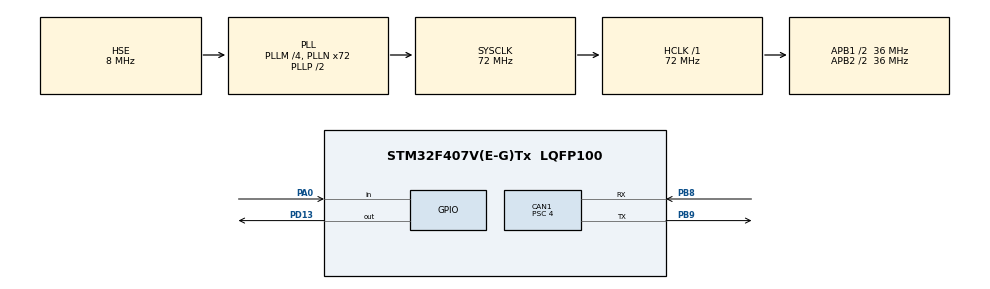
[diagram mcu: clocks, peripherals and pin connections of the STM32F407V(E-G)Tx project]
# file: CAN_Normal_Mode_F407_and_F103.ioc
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CAN1.BS1=CAN_BS1_12TQ
CAN1.BS2=CAN_BS2_3TQ
CAN1.CalculateBaudRate=562500
CAN1.CalculateTimeBit=1777
CAN1.CalculateTimeQuantum=111.11111111111111
CAN1.Mode=CAN_MODE_NORMAL
CAN1.Prescaler=4
Mcu.Family=STM32F4
Mcu.Name=STM32F407V(E-G)Tx
Mcu.Package=LQFP100
NVIC.PriorityGroup=NVIC_PRIORITYGROUP_0
PA0-WKUP.GPIO_PuPd=GPIO_PULLUP
PA0-WKUP.Signal=GPIO_Input
PA13.Mode=Serial_Wire
PA13.Signal=SYS_JTMS-SWDIO
PA14.Mode=Serial_Wire
PA14.Signal=SYS_JTCK-SWCLK
PB8.Mode=CAN_Activate
PB8.Signal=CAN1_RX
PB9.Mode=CAN_Activate
PB9.Signal=CAN1_TX
PD13.Signal=GPIO_Output
PH0-OSC_IN.Mode=HSE-External-Oscillator
PH0-OSC_IN.Signal=RCC_OSC_IN
PH1-OSC_OUT.Mode=HSE-External-Oscillator
PH1-OSC_OUT.Signal=RCC_OSC_OUT
ProjectManager.HeapSize=0x200
ProjectManager.StackSize=0x400
ProjectManager.TargetToolchain=STM32CubeIDE
RCC.48MHZClocksFreq_Value=20571428.57142857
RCC.AHBFreq_Value=72000000
RCC.APB1CLKDivider=RCC_HCLK_DIV2
RCC.APB1Freq_Value=36000000
RCC.APB1TimFreq_Value=72000000
RCC.APB2CLKDivider=RCC_HCLK_DIV2
RCC.APB2Freq_Value=36000000
RCC.APB2TimFreq_Value=72000000
RCC.CortexFreq_Value=72000000
RCC.HCLKFreq_Value=72000000
RCC.HSE_VALUE=8000000
RCC.HSI_VALUE=16000000
RCC.LSE_VALUE=32768
RCC.PLLM=4
RCC.PLLN=72
RCC.PLLQ=7
RCC.PLLSourceVirtual=RCC_PLLSOURCE_HSE
RCC.SYSCLKFreq_VALUE=72000000
RCC.SYSCLKSource=RCC_SYSCLKSOURCE_PLLCLK
RCC.VCOOutputFreq_Value=144000000
board=STM32F407G-DISC1

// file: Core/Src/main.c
/* USER CODE BEGIN Header */
/**
 ******************************************************************************
 * @file           : main.c
 * @brief          : Main program body
 ******************************************************************************
 * @attention
 *
 * Copyright (c) 2024 STMicroelectronics.
 * All rights reserved.
 *
 * This software is licensed under terms that can be found in the LICENSE file
 * in the root directory of this software component.
 * If no LICENSE file comes with this software, it is provided AS-IS.
 *
 ******************************************************************************
 */
/* USER CODE END Header */
#include "main.h"

CAN_HandleTypeDef hcan1;

/* USER CODE BEGIN PV */
CAN_TxHeaderTypeDef txHeader;
uint8_t txData[5] = {'H','E','L','L','O'};  // Data to send
uint32_t txMailbox;

CAN_RxHeaderTypeDef RxHeader;
uint8_t RxData[1];

/* USER CODE END PV */

void SystemClock_Config(void);
static void MX_GPIO_Init(void);
static void MX_CAN1_Init(void);

int main(void)
{

  /* MCU Configuration--------------------------------------------------------*/

  /* Reset of all peripherals, Initializes the Flash interface and the Systick. */
  HAL_Init();

  /* Configure the system clock */
  SystemClock_Config();

  /* Initialize all configured peripherals */
  MX_GPIO_Init();
  MX_CAN1_Init();
  /* USER CODE BEGIN 2 */

  CAN_FilterTypeDef canFilterConfig;
     canFilterConfig.FilterBank = 0;
     canFilterConfig.FilterMode = CAN_FILTERMODE_IDMASK;
     canFilterConfig.FilterScale = CAN_FILTERSCALE_32BIT;
     canFilterConfig.FilterIdHigh = 0x0000;
     canFilterConfig.FilterIdLow = 0x0000;
     canFilterConfig.FilterMaskIdHigh = 0x0000;
     canFilterConfig.FilterMaskIdLow = 0x0000;
     canFilterConfig.FilterFIFOAssignment = CAN_RX_FIFO0;
     canFilterConfig.FilterActivation = ENABLE;
     canFilterConfig.SlaveStartFilterBank = 14;

   	 txHeader.DLC = 5;  // Data length code: 1 byte
       txHeader.IDE = CAN_ID_STD;  // Standard identifier
       txHeader.StdId = 0x123;  // Identifier
       txHeader.RTR = CAN_RTR_DATA;  // Data frame
       txHeader.ExtId = 0x01;   // Extended Identifier (not used in this case)

     if (HAL_CAN_ConfigFilter(&hcan1, &canFilterConfig) != HAL_OK)
       {
         // Filter configuration Error
         Error_Handler();
       }

       // Start CAN
       if (HAL_CAN_Start(&hcan1) != HAL_OK)
       {
         // Start Error
         Error_Handler();
       }

       // Activate the notification for message reception
       if (HAL_CAN_ActivateNotification(&hcan1, CAN_IT_RX_FIFO0_MSG_PENDING) != HAL_OK)
       {
         // Notification Error
         Error_Handler();
       }

  /* USER CODE END 2 */

  /* Infinite loop */
	while (1) {

    /* USER CODE BEGIN 3 */
		if (HAL_CAN_GetTxMailboxesFreeLevel(&hcan1) > 0)
		{
			HAL_GPIO_WritePin(GPIOD, GPIO_PIN_13, 1);
		            if (HAL_CAN_AddTxMessage(&hcan1, &txHeader, txData, &txMailbox) != HAL_OK) {
		                Error_Handler();
		            }

		        }
		// Check if a CAN message is received
//		    if (HAL_CAN_GetRxFifoFillLevel(&hcan1, CAN_RX_FIFO0) > 0)
//		    {
//		      if (HAL_CAN_GetRxMessage(&hcan1, CAN_RX_FIFO0, &RxHeader, RxData) == HAL_OK)
//		      {
//		        // Process the received message (RxData)
//		        // You can add your code here to handle the received data
//		      }
//		      else
//		      {
//		        // Reception Error
//		        Error_Handler();
//		      }
//		    }

		    HAL_Delay(500);

	}
  /* USER CODE END 3 */
}

void SystemClock_Config(void)
{
  RCC_OscInitTypeDef RCC_OscInitStruct = {0};
  RCC_ClkInitTypeDef RCC_ClkInitStruct = {0};

  /** Configure the main internal regulator output voltage
  */
  __HAL_RCC_PWR_CLK_ENABLE();
  __HAL_PWR_VOLTAGESCALING_CONFIG(PWR_REGULATOR_VOLTAGE_SCALE1);

  /** Initializes the RCC Oscillators according to the specified parameters
  * in the RCC_OscInitTypeDef structure.
  */
  RCC_OscInitStruct.OscillatorType = RCC_OSCILLATORTYPE_HSE;
  RCC_OscInitStruct.HSEState = RCC_HSE_ON;
  RCC_OscInitStruct.PLL.PLLState = RCC_PLL_ON;
  RCC_OscInitStruct.PLL.PLLSource = RCC_PLLSOURCE_HSE;
  RCC_OscInitStruct.PLL.PLLM = 4;
  RCC_OscInitStruct.PLL.PLLN = 72;
  RCC_OscInitStruct.PLL.PLLP = RCC_PLLP_DIV2;
  RCC_OscInitStruct.PLL.PLLQ = 7;
  if (HAL_RCC_OscConfig(&RCC_OscInitStruct) != HAL_OK)
  {
    Error_Handler();
  }

  /** Initializes the CPU, AHB and APB buses clocks
  */
  RCC_ClkInitStruct.ClockType = RCC_CLOCKTYPE_HCLK|RCC_CLOCKTYPE_SYSCLK
                              |RCC_CLOCKTYPE_PCLK1|RCC_CLOCKTYPE_PCLK2;
  RCC_ClkInitStruct.SYSCLKSource = RCC_SYSCLKSOURCE_PLLCLK;
  RCC_ClkInitStruct.AHBCLKDivider = RCC_SYSCLK_DIV1;
  RCC_ClkInitStruct.APB1CLKDivider = RCC_HCLK_DIV2;
  RCC_ClkInitStruct.APB2CLKDivider = RCC_HCLK_DIV2;

  if (HAL_RCC_ClockConfig(&RCC_ClkInitStruct, FLASH_LATENCY_2) != HAL_OK)
  {
    Error_Handler();
  }
}

static void MX_CAN1_Init(void)
{

  hcan1.Instance = CAN1;
  hcan1.Init.Prescaler = 4;
  hcan1.Init.Mode = CAN_MODE_NORMAL;
  hcan1.Init.SyncJumpWidth = CAN_SJW_1TQ;
  hcan1.Init.TimeSeg1 = CAN_BS1_12TQ;
  hcan1.Init.TimeSeg2 = CAN_BS2_3TQ;
  hcan1.Init.TimeTriggeredMode = DISABLE;
  hcan1.Init.AutoBusOff = DISABLE;
  hcan1.Init.AutoWakeUp = DISABLE;
  hcan1.Init.AutoRetransmission = DISABLE;
  hcan1.Init.ReceiveFifoLocked = DISABLE;
  hcan1.Init.TransmitFifoPriority = DISABLE;
  if (HAL_CAN_Init(&hcan1) != HAL_OK)
  {
    Error_Handler();
  }

}

static void MX_GPIO_Init(void)
{
  GPIO_InitTypeDef GPIO_InitStruct = {0};

  /* GPIO Ports Clock Enable */
  __HAL_RCC_GPIOH_CLK_ENABLE();
  __HAL_RCC_GPIOA_CLK_ENABLE();
  __HAL_RCC_GPIOD_CLK_ENABLE();
  __HAL_RCC_GPIOB_CLK_ENABLE();

  /*Configure GPIO pin Output Level */
  HAL_GPIO_WritePin(GPIOD, GPIO_PIN_13, GPIO_PIN_RESET);

  /*Configure GPIO pin : PA0 */
  GPIO_InitStruct.Pin = GPIO_PIN_0;
  GPIO_InitStruct.Mode = GPIO_MODE_INPUT;
  GPIO_InitStruct.Pull = GPIO_PULLUP;
  HAL_GPIO_Init(GPIOA, &GPIO_InitStruct);

  /*Configure GPIO pin : PD13 */
  GPIO_InitStruct.Pin = GPIO_PIN_13;
  GPIO_InitStruct.Mode = GPIO_MODE_OUTPUT_PP;
  GPIO_InitStruct.Pull = GPIO_NOPULL;
  GPIO_InitStruct.Speed = GPIO_SPEED_FREQ_LOW;
  HAL_GPIO_Init(GPIOD, &GPIO_InitStruct);

}

/* USER CODE BEGIN 4 */

//void HAL_GPIO_EXTI_Callback(uint16_t GPIO_Pin) {
//    if (GPIO_Pin == GPIO_PIN_0) {
//    	HAL_GPIO_WritePin(GPIOD, GPIO_PIN_13, 1);
//    	HAL_Delay(100);
//    	HAL_GPIO_WritePin(GPIOD, GPIO_PIN_13, 0);
//    	HAL_Delay(100);
//        // Send CAN message when button is pressed
//        HAL_CAN_AddTxMessage(&hcan1, &txHeader, txData, &txMailbox);
//    }
//}
// CAN transmit complete callback
//void HAL_CAN_TxMailbox0CompleteCallback(CAN_HandleTypeDef *hcan) {
//HAL_GPIO_WritePin(GPIOD, GPIO_PIN_13, 1);
//HAL_Delay(100);
//HAL_GPIO_WritePin(GPIOD, GPIO_PIN_13, 0);
//HAL_Delay(100);
//HAL_GPIO_WritePin(GPIOD, GPIO_PIN_13, 1);
//HAL_Delay(100);
//HAL_GPIO_WritePin(GPIOD, GPIO_PIN_13, 0);
//}
/* USER CODE END 4 */

void Error_Handler(void)
{
	__disable_irq();
	while (1) {
	}
}
